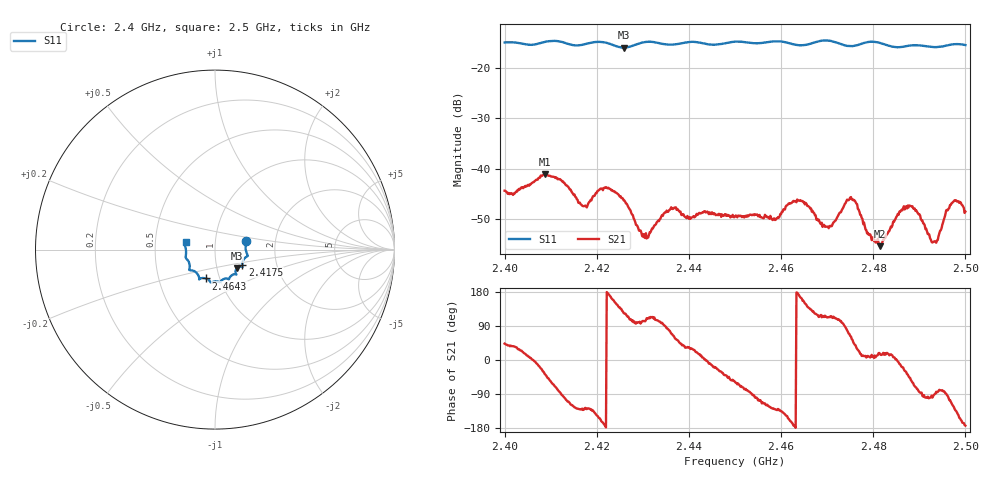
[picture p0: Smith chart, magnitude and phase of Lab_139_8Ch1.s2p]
# Hz S RI R 50
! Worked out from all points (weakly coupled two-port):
!   601 points, 2.4 GHz to 2.5 GHz, reference 50 ohm
!   highest |S21| = -41.10 dB at 2.4088 GHz (marker M1); lowest = -55.4 dB at 2.4815 GHz (marker M2)
!   lowest |S11| = -15.9 dB at 2.4258 GHz (marker M3), VSWR 1.38, Z = 62.3 - j13.2 ohm
!   |S11| at or under -10 dB: start of sweep to end of sweep
!   S12 and S22 are empty: the file has one direction only
!   S11 on the Smith chart (normalised r, x): 2.4 GHz: 1.41, +0.14; 2.4175 GHz: 1.34, -0.23; 2.4643 GHz: 0.86, -0.29; 2.5 GHz: 0.72, +0.06
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2.4e9  0.1729 0.0488  0.0044 0.00414  0 0  0 0
2.408833e9  0.1804 -0.0273  0.0069 -0.00548  0 0  0 0
2.416667e9  0.1528 -0.074  -0.00285 -0.00332  0 0  0 0
2.4175e9  0.1518 -0.0835  -0.00255 -0.00346  0 0  0 0
2.422e9  0.1516 -0.095  -0.00655 -0.000259  0 0  0 0
2.425833e9  0.1218 -0.1033  -0.00271 0.00401  0 0  0 0
2.430333e9  0.118 -0.1373  -0.000448 0.00202  0 0  0 0
2.433333e9  0.1131 -0.1371  -0.000709 0.00295  0 0  0 0
2.436667e9  0.0896 -0.1463  0.00176 0.00361  0 0  0 0
2.45e9  0.029 -0.1809  0.00178 -0.00283  0 0  0 0
2.458667e9  -0.0215 -0.1834  -0.00197 -0.00238  0 0  0 0
2.464333e9  -0.0498 -0.1609  -0.00458 0.00132  0 0  0 0
2.466667e9  -0.0758 -0.1593  -0.00243 0.00284  0 0  0 0
2.4705e9  -0.088 -0.1649  -0.00108 0.00244  0 0  0 0
2.4755e9  -0.1109 -0.1227  0.00299 0.00398  0 0  0 0
2.478667e9  -0.1397 -0.1149  0.00224 0.000337  0 0  0 0
2.4815e9  -0.1424 -0.1063  0.00164 0.000437  0 0  0 0
2.483333e9  -0.1407 -0.09  0.00229 0.000638  0 0  0 0
2.488e9  -0.16 -0.05  0.00291 -0.00313  0 0  0 0
2.493167e9  -0.1612 -0.0124  -6.82e-05 -0.00188  0 0  0 0
2.497167e9  -0.1698 0.028  -0.00217 -0.00404  0 0  0 0
2.5e9  -0.164 0.0429  -0.00371 -0.000441  0 0  0 0
